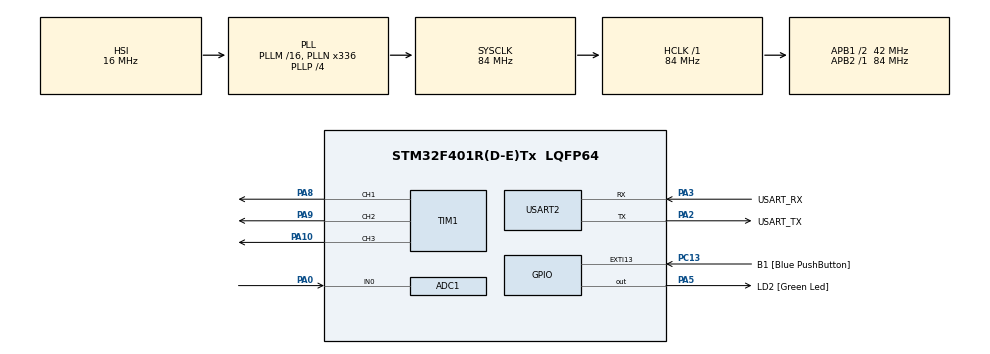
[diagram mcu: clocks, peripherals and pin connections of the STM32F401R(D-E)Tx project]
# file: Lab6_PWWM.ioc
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ADC1.Channel-0\#ChannelRegularConversion=ADC_CHANNEL_0
ADC1.Channel-1\#ChannelRegularConversion=ADC_CHANNEL_0
ADC1.Channel-2\#ChannelRegularConversion=ADC_CHANNEL_0
ADC1.NbrOfConversion=3
ADC1.NbrOfConversionFlag=1
ADC1.Rank-0\#ChannelRegularConversion=1
ADC1.Rank-1\#ChannelRegularConversion=2
ADC1.Rank-2\#ChannelRegularConversion=3
ADC1.SamplingTime-0\#ChannelRegularConversion=ADC_SAMPLETIME_3CYCLES
ADC1.SamplingTime-1\#ChannelRegularConversion=ADC_SAMPLETIME_3CYCLES
ADC1.SamplingTime-2\#ChannelRegularConversion=ADC_SAMPLETIME_3CYCLES
ADC1.master=1
Mcu.Family=STM32F4
Mcu.Name=STM32F401R(D-E)Tx
Mcu.Package=LQFP64
NVIC.PriorityGroup=NVIC_PRIORITYGROUP_0
PA0-WKUP.Signal=ADCx_IN0
PA10.Signal=S_TIM1_CH3
PA13.GPIO_Label=TMS
PA13.Mode=Serial_Wire
PA13.Signal=SYS_JTMS-SWDIO
PA14.GPIO_Label=TCK
PA14.Mode=Serial_Wire
PA14.Signal=SYS_JTCK-SWCLK
PA2.GPIO_Label=USART_TX
PA2.GPIO_Mode=GPIO_MODE_AF_PP
PA2.GPIO_PuPd=GPIO_NOPULL
PA2.GPIO_Speed=GPIO_SPEED_FREQ_LOW
PA2.Mode=Asynchronous
PA2.Signal=USART2_TX
PA3.GPIO_Label=USART_RX
PA3.GPIO_Mode=GPIO_MODE_AF_PP
PA3.GPIO_PuPd=GPIO_NOPULL
PA3.GPIO_Speed=GPIO_SPEED_FREQ_LOW
PA3.Mode=Asynchronous
PA3.Signal=USART2_RX
PA5.GPIO_Label=LD2 [Green Led]
PA5.GPIO_Mode=GPIO_MODE_OUTPUT_PP
PA5.GPIO_PuPd=GPIO_NOPULL
PA5.GPIO_Speed=GPIO_SPEED_FREQ_LOW
PA5.Signal=GPIO_Output
PA8.Signal=S_TIM1_CH1
PA9.Signal=S_TIM1_CH2
PB3.GPIO_Label=SWO
PB3.Signal=SYS_JTDO-SWO
PC13-ANTI_TAMP.GPIO_Label=B1 [Blue PushButton]
PC13-ANTI_TAMP.GPIO_ModeDefaultEXTI=GPIO_MODE_IT_FALLING
PC13-ANTI_TAMP.GPIO_PuPd=GPIO_NOPULL
PC13-ANTI_TAMP.Signal=GPXTI13
PC14-OSC32_IN.Mode=LSE-External-Oscillator
PC14-OSC32_IN.Signal=RCC_OSC32_IN
PC15-OSC32_OUT.Mode=LSE-External-Oscillator
PC15-OSC32_OUT.Signal=RCC_OSC32_OUT
PH0\ -\ OSC_IN.Mode=HSE-External-Clock-Source
PH0\ -\ OSC_IN.Signal=RCC_OSC_IN
PH1\ -\ OSC_OUT.Mode=HSE-External-Clock-Source
PH1\ -\ OSC_OUT.Signal=RCC_OSC_OUT
ProjectManager.HeapSize=0x200
ProjectManager.StackSize=0x400
ProjectManager.TargetToolchain=STM32CubeIDE
RCC.48MHZClocksFreq_Value=48000000
RCC.AHBFreq_Value=84000000
RCC.APB1CLKDivider=RCC_HCLK_DIV2
RCC.APB1Freq_Value=42000000
RCC.APB1TimFreq_Value=84000000
RCC.APB2Freq_Value=84000000
RCC.APB2TimFreq_Value=84000000
RCC.CortexFreq_Value=84000000
RCC.HCLKFreq_Value=84000000
RCC.HSE_VALUE=8000000
RCC.HSI_VALUE=16000000
RCC.PLLN=336
RCC.PLLP=RCC_PLLP_DIV4
RCC.PLLQ=7
RCC.SYSCLKFreq_VALUE=84000000
RCC.SYSCLKSource=RCC_SYSCLKSOURCE_PLLCLK
RCC.VCOOutputFreq_Value=336000000
SH.ADCx_IN0.0=ADC1_IN0,IN0
SH.S_TIM1_CH1.0=TIM1_CH1,Output Compare1 CH1
SH.S_TIM1_CH2.0=TIM1_CH2,Output Compare2 CH2
SH.S_TIM1_CH3.0=TIM1_CH3,Output Compare3 CH3
TIM1.Channel-Output\ Compare1\ CH1=TIM_CHANNEL_1
TIM1.Channel-Output\ Compare2\ CH2=TIM_CHANNEL_2
TIM1.Channel-Output\ Compare3\ CH3=TIM_CHANNEL_3
USART2.VirtualMode=VM_ASYNC
board=NUCLEO-F401RE

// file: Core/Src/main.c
/* USER CODE BEGIN Header */
/**
  ******************************************************************************
  * @file           : main.c
  * @brief          : Main program body
  ******************************************************************************
  * @attention
  *
  * Copyright (c) 2024 STMicroelectronics.
  * All rights reserved.
  *
  * This software is licensed under terms that can be found in the LICENSE file
  * in the root directory of this software component.
  * If no LICENSE file comes with this software, it is provided AS-IS.
  *
  ******************************************************************************
  */
/* USER CODE END Header */
#include "main.h"

/* USER CODE BEGIN Includes */
#define M_TWOPI 6.283185307179586476925286766559  // 2 * pi
/* USER CODE END Includes */

/* USER CODE BEGIN PD */
uint32_t isr_count;
static float t = 0.0f;
const float offset = M_TWOPI / 3.0f;
const float half_arr = 0.0f; /* set to (ARR+1) / 2.0f !!! */
uint32_t freq = 1000;

/* USER CODE END PD */

ADC_HandleTypeDef hadc1;

TIM_HandleTypeDef htim1;

UART_HandleTypeDef huart2;

void SystemClock_Config(void);
static void MX_GPIO_Init(void);
static void MX_USART2_UART_Init(void);
static void MX_TIM1_Init(void);
static void MX_ADC1_Init(void);

int main(void)
{

  /* USER CODE BEGIN 1 */
	float rf = 0.0f, gf = 0.0f, bf = 0.0f;
  /* USER CODE END 1 */

  /* MCU Configuration--------------------------------------------------------*/

  /* Reset of all peripherals, Initializes the Flash interface and the Systick. */
  HAL_Init();

  /* Configure the system clock */
  SystemClock_Config();

  /* Initialize all configured peripherals */
  MX_GPIO_Init();
  MX_USART2_UART_Init();
  MX_TIM1_Init();
  MX_ADC1_Init();

  /* Infinite loop */
  /* USER CODE BEGIN WHILE */
  isr_count++;
  while (1)
  {
	  uint32_t duty = (isr_count / 32) % 1000;
	  __HAL_TIM_SET_COMPARE(&htim1, TIM_CHANNEL_1, duty);
	  rf = sinf((M_TWOPI * t * freq) + (0 * offset));
	  gf = sinf((M_TWOPI * t * freq) + (1 * offset));
	  bf = sinf((M_TWOPI * t * freq) + (2 * offset));
	  rf = (rf + 1.0) * half_arr;
	  gf = (gf + 1.0) * half_arr;
	  bf = (bf + 1.0) * half_arr;
	  t += 0.001; // should be (1 / f_TIM)

    /* USER CODE END WHILE */

  }
}

void SystemClock_Config(void)
{
  RCC_OscInitTypeDef RCC_OscInitStruct = {0};
  RCC_ClkInitTypeDef RCC_ClkInitStruct = {0};

  /** Configure the main internal regulator output voltage
  */
  __HAL_RCC_PWR_CLK_ENABLE();
  __HAL_PWR_VOLTAGESCALING_CONFIG(PWR_REGULATOR_VOLTAGE_SCALE2);

  /** Initializes the RCC Oscillators according to the specified parameters
  * in the RCC_OscInitTypeDef structure.
  */
  RCC_OscInitStruct.OscillatorType = RCC_OSCILLATORTYPE_HSI;
  RCC_OscInitStruct.HSIState = RCC_HSI_ON;
  RCC_OscInitStruct.HSICalibrationValue = RCC_HSICALIBRATION_DEFAULT;
  RCC_OscInitStruct.PLL.PLLState = RCC_PLL_ON;
  RCC_OscInitStruct.PLL.PLLSource = RCC_PLLSOURCE_HSI;
  RCC_OscInitStruct.PLL.PLLM = 16;
  RCC_OscInitStruct.PLL.PLLN = 336;
  RCC_OscInitStruct.PLL.PLLP = RCC_PLLP_DIV4;
  RCC_OscInitStruct.PLL.PLLQ = 7;
  if (HAL_RCC_OscConfig(&RCC_OscInitStruct) != HAL_OK)
  {
    Error_Handler();
  }

  /** Initializes the CPU, AHB and APB buses clocks
  */
  RCC_ClkInitStruct.ClockType = RCC_CLOCKTYPE_HCLK|RCC_CLOCKTYPE_SYSCLK
                              |RCC_CLOCKTYPE_PCLK1|RCC_CLOCKTYPE_PCLK2;
  RCC_ClkInitStruct.SYSCLKSource = RCC_SYSCLKSOURCE_PLLCLK;
  RCC_ClkInitStruct.AHBCLKDivider = RCC_SYSCLK_DIV1;
  RCC_ClkInitStruct.APB1CLKDivider = RCC_HCLK_DIV2;
  RCC_ClkInitStruct.APB2CLKDivider = RCC_HCLK_DIV1;

  if (HAL_RCC_ClockConfig(&RCC_ClkInitStruct, FLASH_LATENCY_2) != HAL_OK)
  {
    Error_Handler();
  }
}

static void MX_ADC1_Init(void)
{

  ADC_ChannelConfTypeDef sConfig = {0};

  /** Configure the global features of the ADC (Clock, Resolution, Data Alignment and number of conversion)
  */
  hadc1.Instance = ADC1;
  hadc1.Init.ClockPrescaler = ADC_CLOCK_SYNC_PCLK_DIV4;
  hadc1.Init.Resolution = ADC_RESOLUTION_12B;
  hadc1.Init.ScanConvMode = ENABLE;
  hadc1.Init.ContinuousConvMode = DISABLE;
  hadc1.Init.DiscontinuousConvMode = DISABLE;
  hadc1.Init.ExternalTrigConvEdge = ADC_EXTERNALTRIGCONVEDGE_NONE;
  hadc1.Init.ExternalTrigConv = ADC_SOFTWARE_START;
  hadc1.Init.DataAlign = ADC_DATAALIGN_RIGHT;
  hadc1.Init.NbrOfConversion = 3;
  hadc1.Init.DMAContinuousRequests = DISABLE;
  hadc1.Init.EOCSelection = ADC_EOC_SINGLE_CONV;
  if (HAL_ADC_Init(&hadc1) != HAL_OK)
  {
    Error_Handler();
  }

  /** Configure for the selected ADC regular channel its corresponding rank in the sequencer and its sample time.
  */
  sConfig.Channel = ADC_CHANNEL_0;
  sConfig.Rank = 1;
  sConfig.SamplingTime = ADC_SAMPLETIME_3CYCLES;
  if (HAL_ADC_ConfigChannel(&hadc1, &sConfig) != HAL_OK)
  {
    Error_Handler();
  }

  /** Configure for the selected ADC regular channel its corresponding rank in the sequencer and its sample time.
  */
  sConfig.Rank = 2;
  if (HAL_ADC_ConfigChannel(&hadc1, &sConfig) != HAL_OK)
  {
    Error_Handler();
  }

  /** Configure for the selected ADC regular channel its corresponding rank in the sequencer and its sample time.
  */
  sConfig.Rank = 3;
  if (HAL_ADC_ConfigChannel(&hadc1, &sConfig) != HAL_OK)
  {
    Error_Handler();
  }

}

static void MX_TIM1_Init(void)
{

  TIM_MasterConfigTypeDef sMasterConfig = {0};
  TIM_OC_InitTypeDef sConfigOC = {0};
  TIM_BreakDeadTimeConfigTypeDef sBreakDeadTimeConfig = {0};

  htim1.Instance = TIM1;
  htim1.Init.Prescaler = 0;
  htim1.Init.CounterMode = TIM_COUNTERMODE_UP;
  htim1.Init.Period = 65535;
  htim1.Init.ClockDivision = TIM_CLOCKDIVISION_DIV1;
  htim1.Init.RepetitionCounter = 0;
  htim1.Init.AutoReloadPreload = TIM_AUTORELOAD_PRELOAD_DISABLE;
  if (HAL_TIM_OC_Init(&htim1) != HAL_OK)
  {
    Error_Handler();
  }
  sMasterConfig.MasterOutputTrigger = TIM_TRGO_RESET;
  sMasterConfig.MasterSlaveMode = TIM_MASTERSLAVEMODE_DISABLE;
  if (HAL_TIMEx_MasterConfigSynchronization(&htim1, &sMasterConfig) != HAL_OK)
  {
    Error_Handler();
  }
  sConfigOC.OCMode = TIM_OCMODE_TIMING;
  sConfigOC.Pulse = 0;
  sConfigOC.OCPolarity = TIM_OCPOLARITY_HIGH;
  sConfigOC.OCNPolarity = TIM_OCNPOLARITY_HIGH;
  sConfigOC.OCFastMode = TIM_OCFAST_DISABLE;
  sConfigOC.OCIdleState = TIM_OCIDLESTATE_RESET;
  sConfigOC.OCNIdleState = TIM_OCNIDLESTATE_RESET;
  if (HAL_TIM_OC_ConfigChannel(&htim1, &sConfigOC, TIM_CHANNEL_1) != HAL_OK)
  {
    Error_Handler();
  }
  if (HAL_TIM_OC_ConfigChannel(&htim1, &sConfigOC, TIM_CHANNEL_2) != HAL_OK)
  {
    Error_Handler();
  }
  if (HAL_TIM_OC_ConfigChannel(&htim1, &sConfigOC, TIM_CHANNEL_3) != HAL_OK)
  {
    Error_Handler();
  }
  sBreakDeadTimeConfig.OffStateRunMode = TIM_OSSR_DISABLE;
  sBreakDeadTimeConfig.OffStateIDLEMode = TIM_OSSI_DISABLE;
  sBreakDeadTimeConfig.LockLevel = TIM_LOCKLEVEL_OFF;
  sBreakDeadTimeConfig.DeadTime = 0;
  sBreakDeadTimeConfig.BreakState = TIM_BREAK_DISABLE;
  sBreakDeadTimeConfig.BreakPolarity = TIM_BREAKPOLARITY_HIGH;
  sBreakDeadTimeConfig.AutomaticOutput = TIM_AUTOMATICOUTPUT_DISABLE;
  if (HAL_TIMEx_ConfigBreakDeadTime(&htim1, &sBreakDeadTimeConfig) != HAL_OK)
  {
    Error_Handler();
  }
  HAL_TIM_MspPostInit(&htim1);

}

static void MX_USART2_UART_Init(void)
{

  huart2.Instance = USART2;
  huart2.Init.BaudRate = 115200;
  huart2.Init.WordLength = UART_WORDLENGTH_8B;
  huart2.Init.StopBits = UART_STOPBITS_1;
  huart2.Init.Parity = UART_PARITY_NONE;
  huart2.Init.Mode = UART_MODE_TX_RX;
  huart2.Init.HwFlowCtl = UART_HWCONTROL_NONE;
  huart2.Init.OverSampling = UART_OVERSAMPLING_16;
  if (HAL_UART_Init(&huart2) != HAL_OK)
  {
    Error_Handler();
  }

}

static void MX_GPIO_Init(void)
{
  GPIO_InitTypeDef GPIO_InitStruct = {0};

  /* GPIO Ports Clock Enable */
  __HAL_RCC_GPIOC_CLK_ENABLE();
  __HAL_RCC_GPIOH_CLK_ENABLE();
  __HAL_RCC_GPIOA_CLK_ENABLE();
  __HAL_RCC_GPIOB_CLK_ENABLE();

  /*Configure GPIO pin Output Level */
  HAL_GPIO_WritePin(LD2_GPIO_Port, LD2_Pin, GPIO_PIN_RESET);

  /*Configure GPIO pin : B1_Pin */
  GPIO_InitStruct.Pin = B1_Pin;
  GPIO_InitStruct.Mode = GPIO_MODE_IT_FALLING;
  GPIO_InitStruct.Pull = GPIO_NOPULL;
  HAL_GPIO_Init(B1_GPIO_Port, &GPIO_InitStruct);

  /*Configure GPIO pin : LD2_Pin */
  GPIO_InitStruct.Pin = LD2_Pin;
  GPIO_InitStruct.Mode = GPIO_MODE_OUTPUT_PP;
  GPIO_InitStruct.Pull = GPIO_NOPULL;
  GPIO_InitStruct.Speed = GPIO_SPEED_FREQ_LOW;
  HAL_GPIO_Init(LD2_GPIO_Port, &GPIO_InitStruct);

}

void Error_Handler(void)
{
  __disable_irq();
  while (1)
  {
  }
}
